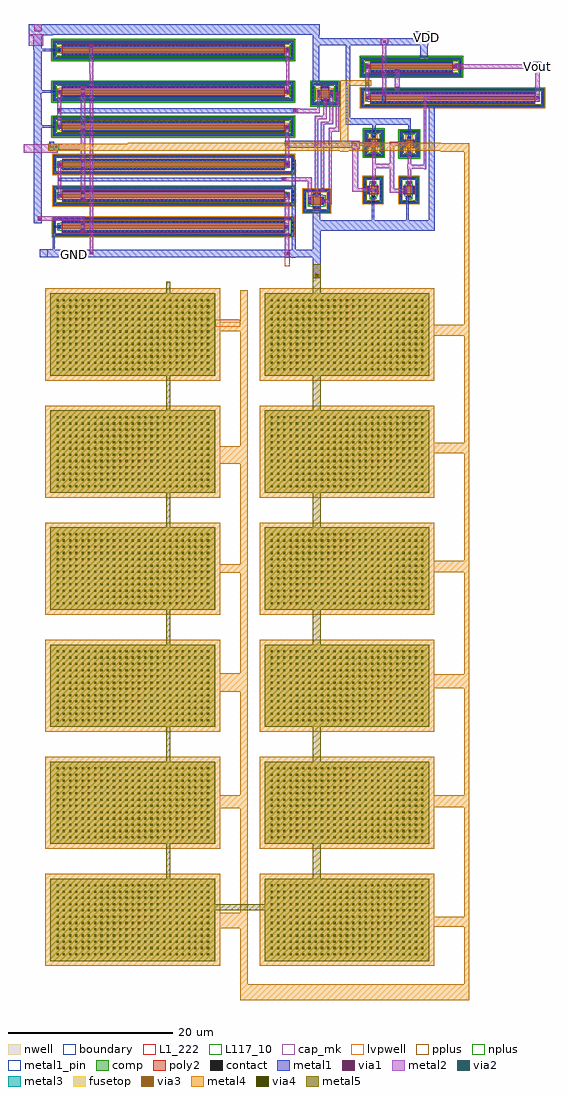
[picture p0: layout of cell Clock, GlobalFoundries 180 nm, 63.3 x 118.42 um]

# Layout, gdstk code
from math import pi, radians
import gdstk
lib = gdstk.Library(unit=1e-6, precision=1e-09)
def R(c, l, rs):  # rectangles x0, y0, x1, y1
    for r in rs: c.add(gdstk.rectangle(r[:2], r[2:], *l))
def A(c, l, x, y, w, h, nx, ny, dx, dy):  # array of equal rectangles
    R(c, l, [(x+i*dx, y+j*dy, x+i*dx+w, y+j*dy+h) for i in range(nx) for j in range(ny)])
boundary = (0, 0)
L1_222 = (1, 222)
nwell = (21, 0)
comp = (22, 0)
poly2 = (30, 0)
pplus = (31, 0)
nplus = (32, 0)
contact = (33, 0)
metal1 = (34, 0)
metal1_pin = (34, 10)
via1 = (35, 0)
metal2 = (36, 0)
via2 = (38, 0)
via3 = (40, 0)
via4 = (41, 0)
metal3 = (42, 0)
metal4 = (46, 0)
fusetop = (75, 0)
metal5 = (81, 0)
cap_mk = (117, 5)
L117_10 = (117, 10)
lvpwell = (204, 0)

cap_mim = lib.new_cell('cap_mim')
A(cap_mim, via4, 0.69, 0.75, 0.26, 0.26, 12, 25, 0.76, 0.76)
R(cap_mim, metal4, [(-0.6,-0.6,10.6,20.6)])
R(cap_mim, fusetop, [(0,0,10,20)])
R(cap_mim, metal5, [(0,0,10,20)])
R(cap_mim, cap_mk, [(-0.6,-0.6,10.6,20.6)])
R(cap_mim, L117_10, [(0,0,10,0.1)])

nfet_03v3_y6nwy5 = lib.new_cell('nfet_03v3_Y6NWY5')
R(nfet_03v3_y6nwy5, boundary, [(-14.45,-1,14.45,1)])
R(nfet_03v3_y6nwy5, comp, [(-14.63,-1.18,14.63,-0.82), (-14.63,-0.82,-14.27,0.82), (14.27,-0.82,14.63,0.82), (-13.94,-0.25,13.94,0.25), (-14.63,0.82,14.63,1.18)])
R(nfet_03v3_y6nwy5, poly2, [(-13.5,-0.71,13.5,0.71)])
R(nfet_03v3_y6nwy5, pplus, [(-14.65,-1.2,14.65,-0.8), (-14.65,-0.8,-14.24,-0.695), (14.24,-0.8,14.65,-0.695), (-14.66,-0.695,-14.24,0.695), (14.24,-0.695,14.66,0.695), (-14.65,0.695,-14.24,0.8), (14.24,0.695,14.65,0.8), (-14.65,0.8,14.65,1.2)])
R(nfet_03v3_y6nwy5, nplus, [(-13.73,-0.48,13.73,-0.41), (-14.1,-0.41,14.1,0.41), (-13.73,0.41,13.73,0.48)])
A(nfet_03v3_y6nwy5, contact, -13.27, -0.64, 0.22, 0.22, 57, 2, 0.47, 1.06)
A(nfet_03v3_y6nwy5, contact, -14.56, -0.58, 0.22, 0.22, 1, 3, 0, 0.47)
A(nfet_03v3_y6nwy5, contact, 14.34, -0.58, 0.22, 0.22, 1, 3, 0, 0.47)
R(nfet_03v3_y6nwy5, contact, [(-13.87,-0.11,-13.65,0.11), (13.65,-0.11,13.87,0.11)])
R(nfet_03v3_y6nwy5, metal1, [(-14.565,-1.115,14.565,-0.885), (-14.565,-0.885,-14.335,0.885), (14.335,-0.885,14.565,0.885), (-13.49,-0.645,13.49,-0.415), (-13.875,-0.24,-13.645,0.24), (13.645,-0.24,13.875,0.24), (-13.49,0.415,13.49,0.645), (-14.565,0.885,14.565,1.115)])
R(nfet_03v3_y6nwy5, lvpwell, [(-14.75,-1.3,14.75,1.3)])

pfet_03v3_c5nple = lib.new_cell('pfet_03v3_C5NPLE')
R(pfet_03v3_c5nple, boundary, [(-14.45,-1,14.45,1)])
R(pfet_03v3_c5nple, nwell, [(-14.75,-1.3,14.75,1.3)])
R(pfet_03v3_c5nple, comp, [(-14.63,-1.18,14.63,-0.82), (-14.63,-0.82,-14.27,0.82), (14.27,-0.82,14.63,0.82), (-13.94,-0.25,13.94,0.25), (-14.63,0.82,14.63,1.18)])
R(pfet_03v3_c5nple, poly2, [(-13.5,-0.71,13.5,0.71)])
R(pfet_03v3_c5nple, pplus, [(-13.73,-0.48,13.73,-0.41), (-14.1,-0.41,14.1,0.41), (-13.73,0.41,13.73,0.48)])
R(pfet_03v3_c5nple, nplus, [(-14.79,-1.34,14.79,-0.71), (-14.79,-0.71,-14.16,0.71), (14.16,-0.71,14.79,0.71), (-14.79,0.71,14.79,1.34)])
A(pfet_03v3_c5nple, contact, -13.27, -0.64, 0.22, 0.22, 57, 2, 0.47, 1.06)
A(pfet_03v3_c5nple, contact, -14.56, -0.58, 0.22, 0.22, 1, 3, 0, 0.47)
A(pfet_03v3_c5nple, contact, 14.34, -0.58, 0.22, 0.22, 1, 3, 0, 0.47)
R(pfet_03v3_c5nple, contact, [(-13.87,-0.11,-13.65,0.11), (13.65,-0.11,13.87,0.11)])
R(pfet_03v3_c5nple, metal1, [(-14.565,-1.115,14.565,-0.885), (-14.565,-0.885,-14.335,0.885), (14.335,-0.885,14.565,0.885), (-13.49,-0.645,13.49,-0.415), (-13.875,-0.24,-13.645,0.24), (13.645,-0.24,13.875,0.24), (-13.49,0.415,13.49,0.645), (-14.565,0.885,14.565,1.115)])

nfet_03v3_gnryrw = lib.new_cell('nfet_03v3_GNRYRW')
R(nfet_03v3_gnryrw, boundary, [(-1.45,-1.25,1.45,1.25)])
R(nfet_03v3_gnryrw, comp, [(-1.63,-1.43,1.63,-1.07), (-1.63,-1.07,-1.27,1.07), (1.27,-1.07,1.63,1.07), (-0.94,-0.5,0.94,0.5), (-1.63,1.07,1.63,1.43)])
R(nfet_03v3_gnryrw, poly2, [(-0.5,-0.96,0.5,0.96)])
R(nfet_03v3_gnryrw, pplus, [(-1.65,-1.45,1.65,-1.05), (-1.65,-1.05,-1.24,-0.945), (1.25,-1.05,1.65,1.05), (-1.66,-0.945,-1.24,0.945), (-1.65,0.945,-1.24,1.05), (-1.65,1.05,1.65,1.45)])
R(nfet_03v3_gnryrw, nplus, [(-0.73,-0.73,0.73,-0.66), (-1.1,-0.66,1.1,0.66), (-0.73,0.66,0.73,0.73)])
A(nfet_03v3_gnryrw, contact, -1.56, -0.815, 0.22, 0.22, 1, 4, 0, 0.47)
R(nfet_03v3_gnryrw, contact, [(-0.345,-0.89,-0.125,-0.67), (0.125,-0.89,0.345,-0.67), (-0.87,-0.345,-0.65,-0.125), (0.65,-0.345,0.87,-0.125), (-0.87,0.125,-0.65,0.345), (0.65,0.125,0.87,0.345), (-0.345,0.67,-0.125,0.89), (0.125,0.67,0.345,0.89)])
R(nfet_03v3_gnryrw, metal1, [(-1.565,-1.365,1.565,-1.135), (-1.565,-1.135,-1.335,1.135), (1.335,-1.135,1.565,1.135), (-0.49,-0.895,0.49,-0.665), (-0.875,-0.49,-0.645,0.49), (0.645,-0.49,0.875,0.49), (-0.49,0.665,0.49,0.895), (-1.565,1.135,1.565,1.365)])
R(nfet_03v3_gnryrw, lvpwell, [(-1.75,-1.55,1.75,1.55)])

pfet_03v3_9trv9f = lib.new_cell('pfet_03v3_9TRV9F')
R(pfet_03v3_9trv9f, boundary, [(-1.45,-1.25,1.45,1.25)])
R(pfet_03v3_9trv9f, nwell, [(-1.75,-1.55,1.75,1.55)])
R(pfet_03v3_9trv9f, comp, [(-1.63,-1.43,1.63,-1.07), (-1.63,-1.07,-1.27,1.07), (1.27,-1.07,1.63,1.07), (-0.94,-0.5,0.94,0.5), (-1.63,1.07,1.63,1.43)])
R(pfet_03v3_9trv9f, poly2, [(-0.5,-0.96,0.5,0.96)])
R(pfet_03v3_9trv9f, pplus, [(-0.73,-0.73,0.73,-0.66), (-1.1,-0.66,1.1,0.66), (-0.73,0.66,0.73,0.73)])
R(pfet_03v3_9trv9f, nplus, [(-1.79,-1.59,1.79,-0.96), (-1.79,-0.96,-1.16,0.96), (1.16,-0.96,1.79,0.96), (-1.79,0.96,1.79,1.59)])
A(pfet_03v3_9trv9f, contact, -1.56, -0.815, 0.22, 0.22, 1, 4, 0, 0.47)
A(pfet_03v3_9trv9f, contact, 1.34, -0.815, 0.22, 0.22, 1, 4, 0, 0.47)
R(pfet_03v3_9trv9f, contact, [(-0.345,-0.89,-0.125,-0.67), (0.125,-0.89,0.345,-0.67), (-0.87,-0.345,-0.65,-0.125), (0.65,-0.345,0.87,-0.125), (-0.87,0.125,-0.65,0.345), (0.65,0.125,0.87,0.345), (-0.345,0.67,-0.125,0.89), (0.125,0.67,0.345,0.89)])
R(pfet_03v3_9trv9f, metal1, [(-1.565,-1.365,1.565,-1.135), (-1.565,-1.135,-1.335,1.135), (1.335,-1.135,1.565,1.135), (-0.49,-0.895,0.49,-0.665), (-0.875,-0.49,-0.645,0.49), (0.645,-0.49,0.875,0.49), (-0.49,0.665,0.49,0.895), (-1.565,1.135,1.565,1.365)])

b04_schmitt_trigger_back = lib.new_cell('B04_schmitt_trigger_backup')
R(b04_schmitt_trigger_back, metal1, [(43.1,-34.55,43.6,-34.5), (12.55,-34.5,46.6,-33.6), (12.55,-33.6,14.4,-33.5), (43.1,-33.6,43.6,-22.65), (45.7,-33.6,46.6,-28.8), (14.15,-33.5,14.4,-31.7), (17.6,-31.4,17.95,-31.35), (17.55,-31.35,18,-31.05), (42.4,-31,42.8,-30.6), (14.35,-30.95,15,-30.65), (17.55,-30.55,18,-30.2), (11.85,-30.35,12.8,-18.8), (46.85,-27.9,47.25,-27.45), (45.1,-27.85,45.3,-27.8), (45.1,-27.8,45.5,-27.5), (17.65,-27.65,18,-27.5), (17.6,-27.5,18.05,-27.3), (45.1,-27.5,45.3,-27.4), (14.75,-27.25,15.15,-26.85), (42.65,-27.25,42.85,-27.2), (45.9,-27.25,46.35,-26.9), (42.45,-27.2,42.85,-26.9), (42.65,-26.9,42.85,-26.85), (45.95,-26.9,46.3,-26.85), (17.6,-26.8,18.05,-26.6), (17.65,-26.6,18,-26.45), (46.65,-26.45,47.1,-26.05), (14.75,-25.25,42.45,-24.85), (17.65,-23.85,18,-23.7), (17.6,-23.7,18.05,-23.5), (14.75,-23.45,15.15,-23.05), (42.4,-23.45,42.8,-23.4), (42.4,-23.4,42.85,-23.1), (42.4,-23.1,42.8,-23.05), (17.6,-23,18.05,-22.8), (17.65,-22.8,18,-22.65), (13.7,-21.5,14.3,-21.4), (13.65,-21.4,14.95,-20.75), (50.4,-21.4,51.4,-21.2), (42.35,-21.2,51.4,-20.6), (13.7,-20.75,14.3,-20.5), (42.35,-20.6,43.7,-20.55), (50.4,-20.6,51.4,-20.4), (17.6,-19.25,18.05,-18.9), (14.7,-18.85,14.9,-18.8), (42.45,-18.85,42.8,-18.8), (11.85,-18.8,14.35,-18.5), (14.7,-18.8,15.1,-18.5), (42.4,-18.8,42.8,-18.5), (11.85,-18.5,12.8,-15.25), (14.7,-18.5,14.9,-18.45), (42.45,-18.5,42.8,-18.45), (17.6,-18.4,18.05,-18.05), (14.7,-17,43.85,-16.45), (46.95,-15.55,47.4,-15.15), (11.85,-15.25,12.75,-14.6), (17.65,-15,18,-14.95), (17.6,-14.95,18.05,-14.55), (46.2,-14.85,46.65,-14.45), (47.7,-14.8,48.15,-14.4), (48.45,-14.8,48.9,-14.4), (11.85,-14.6,12.8,-14.55), (14.7,-14.6,15,-14.55), (42.4,-14.6,42.8,-14.2), (11.85,-14.55,14.4,-14.25), (14.7,-14.55,15.1,-14.25), (11.85,-14.25,12.8,-9.5), (14.7,-14.25,15,-14.2), (17.6,-14.2,18.05,-13.85), (17.65,-13.85,18,-13.8), (45.7,-13.55,46.45,-7.5), (42.4,-9.55,42.85,-9.15), (11.85,-9.5,14.185,-9.35), (14.415,-9.5,14.875,-9.2), (11.75,-9.35,14.185,-9.2), (11.75,-9.2,12.8,-7.6), (18.55,-9.15,19,-8.8), (18.6,-8.8,18.95,-8.785), (11.2,-7.6,13,-7.55), (11.2,-7.55,14.15,-7.5), (11.2,-7.5,46.5,-6.25), (11.2,-6.25,14.15,-6.2)])
R(b04_schmitt_trigger_back, metal1_pin, [(12.55,-34.5,13.55,-33.5), (13.8,-21.5,14.3,-20.5), (50.4,-21.4,51.4,-20.4), (12.65,-7.05,12.7,-6.9)])
R(b04_schmitt_trigger_back, via1, [(42.495,-34.18,42.755,-33.92), (18.695,-34.08,18.955,-33.82), (17.645,-31.38,17.905,-31.12), (42.445,-30.93,42.705,-30.67), (17.645,-30.48,17.905,-30.22), (12.42,-29.98,12.68,-29.72), (46.895,-27.805,47.155,-27.545), (45.195,-27.78,45.455,-27.52), (17.695,-27.63,17.955,-27.37), (14.845,-27.18,15.105,-26.92), (42.495,-27.18,42.755,-26.92), (45.995,-27.155,46.255,-26.895), (17.695,-26.73,17.955,-26.47), (46.745,-26.405,47.005,-26.145), (14.845,-25.18,15.105,-24.92), (42.045,-25.18,42.305,-24.92), (17.695,-23.83,17.955,-23.57), (14.845,-23.38,15.105,-23.12), (42.495,-23.38,42.755,-23.12), (17.695,-22.93,17.955,-22.67), (13.91,-21.205,14.17,-20.945), (14.43,-21.205,14.69,-20.945), (45.995,-21.03,46.255,-20.77), (42.445,-20.98,42.705,-20.72), (50.695,-20.98,50.955,-20.72), (17.695,-19.23,17.955,-18.97), (14.795,-18.78,15.055,-18.52), (42.445,-18.78,42.705,-18.52), (17.695,-18.33,17.955,-18.07), (14.795,-16.83,15.055,-16.57), (43.395,-16.83,43.655,-16.57), (47.045,-15.48,47.305,-15.22), (17.695,-14.93,17.955,-14.67), (46.295,-14.78,46.555,-14.52), (47.795,-14.73,48.055,-14.47), (48.545,-14.73,48.805,-14.47), (14.795,-14.53,15.055,-14.27), (42.445,-14.53,42.705,-14.27), (17.695,-14.105,17.955,-13.845), (42.495,-9.48,42.755,-9.22), (18.645,-9.075,18.905,-8.815)])
R(b04_schmitt_trigger_back, metal2, [(42.3,-34.55,42.85,-26.7), (18.6,-34.15,19.05,-12.15), (17.55,-31.45,18,-30.1), (12.3,-30.1,18,-29.55), (47.6,-28.05,48,-27.9), (45.1,-27.9,45.55,-25.25), (46.8,-27.9,48,-27.45), (17.5,-27.7,18.1,-21.45), (47.6,-27.45,48,-19.3), (14.75,-27.3,15.2,-26.85), (45.9,-27.25,46.35,-17.75), (14.75,-26.85,15.15,-25.25), (46.65,-26.5,47.1,-18.35), (14.75,-25.25,15.2,-24.85), (41.9,-25.25,45.55,-24.8), (14.75,-24.85,15.15,-23.45), (42.35,-23.5,42.85,-18.4), (14.75,-23.45,15.2,-23.05), (13.65,-21.45,18.1,-20.7), (50.5,-21.25,51.15,-20.6), (17.55,-20.7,18.1,-13.75), (47.6,-19.3,48.9,-18.8), (14.7,-18.85,15.15,-14.15), (48.45,-18.8,48.9,-14.4), (46.65,-18.35,48.15,-18.05), (47.7,-18.05,48.15,-14.4), (45.9,-17.75,47.4,-17.35), (46.95,-17.35,47.4,-15.15), (43.3,-17,46.5,-16.5), (43.3,-16.5,44.1,-16.45), (46.2,-16.5,46.5,-14.9), (46.2,-14.9,46.55,-14.85), (46.2,-14.85,46.65,-14.45), (42.35,-14.65,42.8,-14.15), (42.45,-14.15,42.8,-10.95), (18.55,-12.15,19.05,-9.75), (42.4,-10.95,42.85,-9.15), (18.55,-9.75,19,-8.7), (11.9,-7.05,12.8,-6.2)])
b04_schmitt_trigger_back.add(gdstk.Reference(nfet_03v3_y6nwy5, (28.75,-30.8)))
b04_schmitt_trigger_back.add(gdstk.Reference(pfet_03v3_c5nple, (28.75,-9.35)))
b04_schmitt_trigger_back.add(gdstk.Reference(nfet_03v3_gnryrw, (46.15,-27.65)))
b04_schmitt_trigger_back.add(gdstk.Reference(nfet_03v3_y6nwy5, (28.8,-27.05)))
b04_schmitt_trigger_back.add(gdstk.Reference(nfet_03v3_y6nwy5, (28.8,-23.25)))
b04_schmitt_trigger_back.add(gdstk.Reference(pfet_03v3_9trv9f, (47.15,-14.65)))
b04_schmitt_trigger_back.add(gdstk.Reference(pfet_03v3_c5nple, (28.75,-18.65)))
b04_schmitt_trigger_back.add(gdstk.Reference(pfet_03v3_c5nple, (28.75,-14.4)))
b04_schmitt_trigger_back.add(gdstk.Label('VDD', (12.675,-6.975), layer=34, texttype=10))
b04_schmitt_trigger_back.add(gdstk.Label('Vin', (14.05,-21), layer=34, texttype=10))
b04_schmitt_trigger_back.add(gdstk.Label('Vout', (50.9,-20.9), layer=34, texttype=10))
b04_schmitt_trigger_back.add(gdstk.Label('GND', (13.05,-34), layer=34, texttype=10))

nfet_03v3_5p2fd6 = lib.new_cell('nfet_03v3_5P2FD6')
R(nfet_03v3_5p2fd6, boundary, [(-10.95,-1,10.95,1)])
R(nfet_03v3_5p2fd6, comp, [(-11.13,-1.18,11.13,-0.82), (-11.13,-0.82,-10.77,0.82), (10.77,-0.82,11.13,0.82), (-10.44,-0.25,10.44,0.25), (-11.13,0.82,11.13,1.18)])
R(nfet_03v3_5p2fd6, poly2, [(-10,-0.71,10,0.71)])
R(nfet_03v3_5p2fd6, pplus, [(-11.15,-1.2,11.15,-0.8), (-11.15,-0.8,-10.74,-0.695), (10.74,-0.8,11.15,-0.695), (-11.16,-0.695,-10.74,0.695), (10.74,-0.695,11.16,0.695), (-11.15,0.695,-10.74,0.8), (10.74,0.695,11.15,0.8), (-11.15,0.8,11.15,1.2)])
R(nfet_03v3_5p2fd6, nplus, [(-10.23,-0.48,10.23,-0.41), (-10.6,-0.41,10.6,0.41), (-10.23,0.41,10.23,0.48)])
A(nfet_03v3_5p2fd6, contact, -9.745, -0.64, 0.22, 0.22, 42, 2, 0.47, 1.06)
A(nfet_03v3_5p2fd6, contact, -11.06, -0.58, 0.22, 0.22, 1, 3, 0, 0.47)
A(nfet_03v3_5p2fd6, contact, 10.84, -0.58, 0.22, 0.22, 1, 3, 0, 0.47)
R(nfet_03v3_5p2fd6, contact, [(-10.37,-0.11,-10.15,0.11), (10.15,-0.11,10.37,0.11)])
R(nfet_03v3_5p2fd6, metal1, [(-11.065,-1.115,11.065,-0.885), (-11.065,-0.885,-10.835,0.885), (10.835,-0.885,11.065,0.885), (-9.99,-0.645,9.99,-0.415), (-10.375,-0.24,-10.145,0.24), (10.145,-0.24,10.375,0.24), (-9.99,0.415,9.99,0.645), (-11.065,0.885,11.065,1.115)])
R(nfet_03v3_5p2fd6, lvpwell, [(-11.25,-1.3,11.25,1.3)])

pfet_03v3_gpex9r = lib.new_cell('pfet_03v3_GPEX9R')
R(pfet_03v3_gpex9r, boundary, [(-5.95,-1,5.95,1)])
R(pfet_03v3_gpex9r, nwell, [(-6.25,-1.3,6.25,1.3)])
R(pfet_03v3_gpex9r, comp, [(-6.13,-1.18,6.13,-0.82), (-6.13,-0.82,-5.77,0.82), (5.77,-0.82,6.13,0.82), (-5.44,-0.25,5.44,0.25), (-6.13,0.82,6.13,1.18)])
R(pfet_03v3_gpex9r, poly2, [(-5,-0.71,5,0.71)])
R(pfet_03v3_gpex9r, pplus, [(-5.23,-0.48,5.23,-0.41), (-5.6,-0.41,5.6,0.41), (-5.23,0.41,5.23,0.48)])
R(pfet_03v3_gpex9r, nplus, [(-6.29,-1.34,6.29,-0.71), (-6.29,-0.71,-5.66,0.71), (5.66,-0.71,6.29,0.71), (-6.29,0.71,6.29,1.34)])
A(pfet_03v3_gpex9r, contact, -4.81, -0.64, 0.22, 0.22, 21, 2, 0.47, 1.06)
A(pfet_03v3_gpex9r, contact, -6.06, -0.58, 0.22, 0.22, 1, 3, 0, 0.47)
A(pfet_03v3_gpex9r, contact, 5.84, -0.58, 0.22, 0.22, 1, 3, 0, 0.47)
R(pfet_03v3_gpex9r, contact, [(-5.37,-0.11,-5.15,0.11), (5.15,-0.11,5.37,0.11)])
R(pfet_03v3_gpex9r, metal1, [(-6.065,-1.115,6.065,-0.885), (-6.065,-0.885,-5.835,0.885), (5.835,-0.885,6.065,0.885), (-4.99,-0.645,4.99,-0.415), (-5.375,-0.24,-5.145,0.24), (5.145,-0.24,5.375,0.24), (-4.99,0.415,4.99,0.645), (-6.065,0.885,6.065,1.115)])

nfet_03v3_rea3en = lib.new_cell('nfet_03v3_REA3EN')
R(nfet_03v3_rea3en, boundary, [(-1.45,-1,1.45,1)])
R(nfet_03v3_rea3en, comp, [(-1.63,-1.18,1.63,-0.82), (-1.63,-0.82,-1.27,0.82), (1.27,-0.82,1.63,0.82), (-0.94,-0.25,0.94,0.25), (-1.63,0.82,1.63,1.18)])
R(nfet_03v3_rea3en, poly2, [(-0.5,-0.71,0.5,0.71)])
R(nfet_03v3_rea3en, pplus, [(-1.145,-1.21,1.145,-1.2), (-1.65,-1.2,1.65,-0.79), (-1.65,-0.79,-1.24,-0.695), (1.24,-0.79,1.65,-0.695), (-1.66,-0.695,-1.24,0.695), (1.24,-0.695,1.66,0.695), (-1.65,0.695,-1.24,0.79), (1.24,0.695,1.65,0.79), (-1.65,0.79,1.65,1.2), (-1.145,1.2,1.145,1.21)])
R(nfet_03v3_rea3en, nplus, [(-0.73,-0.48,0.73,-0.41), (-1.1,-0.41,1.1,0.41), (-0.73,0.41,0.73,0.48)])
A(nfet_03v3_rea3en, contact, -0.815, -1.11, 0.22, 0.22, 4, 2, 0.47, 2)
A(nfet_03v3_rea3en, contact, -1.56, -0.58, 0.22, 0.22, 1, 3, 0, 0.47)
A(nfet_03v3_rea3en, contact, 1.34, -0.58, 0.22, 0.22, 1, 3, 0, 0.47)
R(nfet_03v3_rea3en, contact, [(-0.345,-0.64,-0.125,-0.42), (0.125,-0.64,0.345,-0.42), (-0.87,-0.11,-0.65,0.11), (0.65,-0.11,0.87,0.11), (-0.345,0.42,-0.125,0.64), (0.125,0.42,0.345,0.64)])
R(nfet_03v3_rea3en, metal1, [(-1.565,-1.115,1.565,-0.885), (-1.565,-0.885,-1.335,0.885), (1.335,-0.885,1.565,0.885), (-0.49,-0.645,0.49,-0.415), (-0.875,-0.24,-0.645,0.24), (0.645,-0.24,0.875,0.24), (-0.49,0.415,0.49,0.645), (-1.565,0.885,1.565,1.115)])
R(nfet_03v3_rea3en, lvpwell, [(-1.75,-1.3,1.75,1.3)])

pfet_03v3_avnsd5 = lib.new_cell('pfet_03v3_AVNSD5')
R(pfet_03v3_avnsd5, boundary, [(-1.45,-1,1.45,1)])
R(pfet_03v3_avnsd5, nwell, [(-1.75,-1.3,1.75,1.3)])
R(pfet_03v3_avnsd5, comp, [(-1.63,-1.18,1.63,-0.82), (-1.63,-0.82,-1.27,0.82), (1.27,-0.82,1.63,0.82), (-0.94,-0.25,0.94,0.25), (-1.63,0.82,1.63,1.18)])
R(pfet_03v3_avnsd5, poly2, [(-0.5,-0.71,0.5,0.71)])
R(pfet_03v3_avnsd5, pplus, [(-0.73,-0.48,0.73,-0.41), (-1.1,-0.41,1.1,0.41), (-0.73,0.41,0.73,0.48)])
R(pfet_03v3_avnsd5, nplus, [(-1.79,-1.34,1.79,-0.71), (-1.79,-0.71,-1.16,0.71), (1.16,-0.71,1.79,0.71), (-1.79,0.71,1.79,1.34)])
A(pfet_03v3_avnsd5, contact, -1.56, -0.58, 0.22, 0.22, 1, 3, 0, 0.47)
R(pfet_03v3_avnsd5, contact, [(-0.345,-0.64,-0.125,-0.42), (0.125,-0.64,0.345,-0.42), (-0.87,-0.11,-0.65,0.11), (0.65,-0.11,0.87,0.11), (-0.345,0.42,-0.125,0.64), (0.125,0.42,0.345,0.64)])
R(pfet_03v3_avnsd5, metal1, [(-1.565,-1.115,1.565,-0.885), (-1.565,-0.885,-1.335,0.885), (1.335,-0.885,1.565,0.885), (-0.49,-0.645,0.49,-0.415), (-0.875,-0.24,-0.645,0.24), (0.645,-0.24,0.875,0.24), (-0.49,0.415,0.49,0.645), (-1.565,0.885,1.565,1.115)])

pfet_03v3_54z2ee = lib.new_cell('pfet_03v3_54Z2EE')
R(pfet_03v3_54z2ee, boundary, [(-1.45,-1,1.45,1)])
R(pfet_03v3_54z2ee, nwell, [(-1.75,-1.3,1.75,1.3)])
R(pfet_03v3_54z2ee, comp, [(-1.63,-1.18,1.63,-0.82), (-1.63,-0.82,-1.27,0.82), (1.27,-0.82,1.63,0.82), (-0.94,-0.25,0.94,0.25), (-1.63,0.82,1.63,1.18)])
R(pfet_03v3_54z2ee, poly2, [(-0.5,-0.71,0.5,0.71)])
R(pfet_03v3_54z2ee, pplus, [(-0.73,-0.48,0.73,-0.41), (-1.1,-0.41,1.1,0.41), (-0.73,0.41,0.73,0.48)])
R(pfet_03v3_54z2ee, nplus, [(-1.79,-1.34,1.79,-0.71), (-1.79,-0.71,-1.16,0.71), (1.16,-0.71,1.79,0.71), (-1.79,0.71,1.79,1.34)])
A(pfet_03v3_54z2ee, contact, -0.815, -1.11, 0.22, 0.22, 4, 2, 0.47, 2)
A(pfet_03v3_54z2ee, contact, -1.56, -0.58, 0.22, 0.22, 1, 3, 0, 0.47)
A(pfet_03v3_54z2ee, contact, 1.34, -0.58, 0.22, 0.22, 1, 3, 0, 0.47)
R(pfet_03v3_54z2ee, contact, [(-0.345,-0.64,-0.125,-0.42), (0.125,-0.64,0.345,-0.42), (-0.87,-0.11,-0.65,0.11), (0.65,-0.11,0.87,0.11), (-0.345,0.42,-0.125,0.64), (0.125,0.42,0.345,0.64)])
R(pfet_03v3_54z2ee, metal1, [(-1.565,-1.115,1.565,-0.885), (-1.565,-0.885,-1.335,0.885), (1.335,-0.885,1.565,0.885), (-0.49,-0.645,0.49,-0.415), (-0.875,-0.24,-0.645,0.24), (0.645,-0.24,0.875,0.24), (-0.49,0.415,0.49,0.645), (-1.565,0.885,1.565,1.115)])

clock = lib.new_cell('Clock')
R(clock, L1_222, [(22.54,-8.36,25.56,-7.51), (30.95,-0.98,31.56,1), (31.01,-0.92,31.54,1)])
R(clock, metal1, [(34.4,-2.46,35.35,0.97), (34.4,-2.46,35.35,-0.745), (34.64,-2.3,35.17,-1.91), (4.95,-0.05,6.8,0.95), (34.4,0.1,35.35,3.9), (35.3,3.32,49.2,4.56), (45.75,4.26,46.05,5.1), (41.55,4.56,41.83,5.1), (48.45,4.56,49.2,5.15), (41.55,5.1,41.85,7.65), (45.75,5.1,46.05,7.55), (48.45,5.15,49.2,18.45), (41.05,7.85,41.15,8.05), (41.9,8,42.3,8.4), (45.45,8,45.8,8.4), (41.05,8.05,41.45,8.45), (41.05,8.45,41.15,8.6), (41.5,8.9,41.9,9.25), (45.85,8.95,46.25,9.3), (45.9,12.8,46.3,13.15), (41.6,12.85,42,13.2), (39.25,13.45,40.1,13.65), (31,13.65,40.1,14.25), (41.2,13.65,41.6,14.05), (45.45,13.65,45.85,14.1), (42,13.7,42.45,14.1), (45.95,14.55,46.25,16.15), (41.6,14.6,42,16.15), (38.4,16.15,38.95,16.2), (41.6,16.15,46.25,16.2), (38.4,16.2,46.25,16.95), (38.4,16.95,38.95,25.8), (42.8,19,43.25,19.9), (61.65,19.2,61.9,19.3), (40.75,19.25,41.15,19.65), (61.5,19.3,61.9,19.6), (61.65,19.6,61.9,19.65), (42.85,19.9,43.2,20.05), (44.35,20.35,44.9,20.8), (44.5,22.6,44.85,22.7), (44.45,22.7,44.9,22.95), (61.1,22.75,62.1,23.8), (40.8,23,41.2,23.4), (51.5,23,51.9,23.4), (47.45,24.1,48.35,25.85), (37.95,25.8,38.95,25.85), (35.15,25.85,48.4,26.1), (35.15,26.1,48.5,26.7), (46.7,26.7,48.5,27.5)])
R(clock, metal1_pin, [(4.95,-0.05,5.95,0.95), (61.1,22.75,62.1,23.75), (48.15,26.65,48.2,26.8)])
R(clock, via1, [(34.77,-2.21,35.03,-1.95), (41.995,8.07,42.255,8.33), (45.47,8.07,45.73,8.33), (41.095,8.12,41.355,8.38), (41.57,8.92,41.83,9.18), (45.92,8.97,46.18,9.23), (45.97,12.87,46.23,13.13), (41.67,12.92,41.93,13.18), (41.245,13.72,41.505,13.98), (42.095,13.77,42.355,14.03), (45.52,13.77,45.78,14.03), (40.845,19.32,41.105,19.58), (61.545,19.32,61.805,19.58), (42.895,19.77,43.155,20.03), (44.495,20.42,44.755,20.68), (44.545,22.62,44.805,22.88), (40.895,23.07,41.155,23.33), (51.545,23.07,51.805,23.33), (61.445,23.07,61.705,23.33), (42.945,26.12,43.205,26.38)])
R(clock, metal2, [(34.64,-2.3,35.17,-1.91), (34.64,-2.3,35.17,-1.91), (43.7,7.9,45.85,8.4), (41.9,8,42.35,8.1), (39.2,8.05,41.45,8.1), (39.2,8.1,42.35,8.4), (39.2,8.4,41.45,8.5), (43.7,8.4,44.25,10.9), (45.4,8.4,45.85,8.45), (39.2,8.5,39.9,13.2), (41.5,8.85,41.9,9.25), (45.85,8.85,46.3,9.8), (41.6,9.25,41.9,9.65), (41.6,9.65,42,10.9), (45.9,9.8,46.3,10.85), (47.85,10.8,48.15,10.85), (45.85,10.85,48.15,11.3), (41.6,10.9,44.25,11.45), (45.9,11.3,46.3,13.2), (47.85,11.3,48.15,19.2), (41.6,11.45,42,13.25), (43.7,11.45,44.25,13.6), (-0.7,12.75,3.45,13.2), (-0.7,13.2,3.55,13.8), (39.1,13.2,40.1,13.65), (43.7,13.6,45.55,13.65), (39.1,13.65,41.6,13.7), (43.7,13.65,45.85,14.1), (39.1,13.7,42.45,14.05), (2.45,13.8,3.55,13.85), (39.1,14.05,40.1,14.25), (41.55,14.05,42.45,14.1), (61.35,18.95,61.9,19.2), (40.75,19.2,41.25,22.9), (47.85,19.2,61.95,19.6), (47.85,19.6,48.65,19.65), (61.35,19.6,61.95,20.4), (42.8,19.7,43.3,26), (44.35,20.35,44.9,20.4), (44.3,20.4,44.95,23), (61.4,20.4,61.95,22.9), (40.75,22.9,41.3,23.5), (61.2,22.9,61.95,22.95), (51.45,22.95,61.95,23.45), (51.5,23.45,61.95,23.5), (-0.1,25.75,1.7,27.15), (42.65,26,43.55,26.7)])
R(clock, via2, [(34.77,-2.21,35.03,-1.95), (2.61,13.395,2.87,13.655), (3.13,13.395,3.39,13.655), (40.895,21.12,41.155,21.38)])
R(clock, via3, [(34.77,-2.21,35.03,-1.95), (2.61,13.395,2.87,13.655), (3.13,13.395,3.39,13.655), (40.895,21.12,41.155,21.38)])
R(clock, via4, [(34.77,-2.21,35.03,-1.95)])
R(clock, metal3, [(34.64,-2.3,35.17,-1.91), (34.64,-2.3,35.17,-1.91), (34.64,-2.3,35.17,-1.91), (2.35,13.05,3.65,13.9), (40.75,21,41.25,21.55)])
R(clock, metal4, [(25.56,-90.02,49.9,-88.1), (49.9,-90.02,53.07,-88.1), (52.78,-90.02,53.36,-86.18), (25.56,-88.1,26.48,-67.58), (52.78,-86.18,53.36,-44.26), (22.54,-81.32,25.56,-79.45), (48.54,-81.16,52.78,-79.89), (25.56,-67.58,26.48,-35.27), (22.54,-66.76,25.56,-65.15), (48.54,-66.64,52.78,-65.15), (22.54,-52.61,25.56,-50.35), (48.54,-52.17,52.78,-50.48), (52.78,-44.26,53.36,-14.62), (22.54,-38.21,25.56,-37.14), (48.54,-38.09,52.78,-36.75), (25.56,-35.27,26.48,-3.91), (22.54,-24.94,25.56,-22.85), (48.54,-23.71,52.78,-22.41), (52.78,-14.62,53.36,3.18), (48.54,-9.45,52.78,-8.12), (22.54,-8.89,25.56,-7.71), (34.64,-2.3,35.17,-1.91), (34.64,-2.3,35.17,-1.91), (34.64,-2.3,35.17,-1.91), (52.78,3.18,53.36,13.95), (37.7,12.9,38.7,13), (49.9,12.93,52.78,13.95), (2.35,13,49.9,13.05), (2.3,13.05,49.9,13.9), (11.95,13.9,49.9,14), (37.7,14,38.7,20.9), (37.7,20.9,41.45,21.45), (37.75,21.45,41.45,21.55)])
R(clock, metal5, [(16.61,-81.43,17.1,-2.9), (16.34,-79.15,31.7,-78.39), (28.43,-79.15,31.57,-78.39), (28.87,-79.15,35.37,-78.39), (34.4,-79.15,35.37,-74.69), (34.39,-74.69,35.35,-72.03), (34.38,-72.03,35.35,-58.785), (34.38,-59.49,35.35,-58.08), (34.38,-58.6,35.35,-45.73), (34.38,-46.29,35.35,-29.12), (34.4,-30.31,35.35,-15.95), (34.4,-15.95,35.35,-2.46), (34.4,-2.46,35.35,-0.745), (34.4,-2.46,35.35,-0.745), (34.64,-2.3,35.17,-1.91), (34.64,-2.3,35.17,-1.91)])
clock.add(gdstk.Reference(cap_mim, (22.54,-85.29), rotation=pi/2))
clock.add(gdstk.Reference(cap_mim, (48.54,-85.29), rotation=pi/2))
clock.add(gdstk.Reference(cap_mim, (22.54,-71.09), rotation=pi/2))
clock.add(gdstk.Reference(cap_mim, (48.54,-71.09), rotation=pi/2))
clock.add(gdstk.Reference(cap_mim, (22.54,-56.89), rotation=pi/2))
clock.add(gdstk.Reference(cap_mim, (48.54,-56.89), rotation=pi/2))
clock.add(gdstk.Reference(cap_mim, (22.54,-42.69), rotation=pi/2))
clock.add(gdstk.Reference(cap_mim, (48.54,-42.69), rotation=pi/2))
clock.add(gdstk.Reference(cap_mim, (22.54,-28.49), rotation=pi/2))
clock.add(gdstk.Reference(cap_mim, (48.54,-28.49), rotation=pi/2))
clock.add(gdstk.Reference(cap_mim, (22.54,-14.29), rotation=pi/2))
clock.add(gdstk.Reference(cap_mim, (48.54,-14.29), rotation=pi/2))
clock.add(gdstk.Reference(b04_schmitt_trigger_back, (-11.3,34.6)))
clock.add(gdstk.Reference(nfet_03v3_5p2fd6, (51.35,19.45)))
clock.add(gdstk.Reference(pfet_03v3_gpex9r, (46.35,23.2)))
clock.add(gdstk.Reference(nfet_03v3_rea3en, (46.05,8.25), rotation=3*pi/2))
clock.add(gdstk.Reference(pfet_03v3_avnsd5, (41.8,13.95), rotation=3*pi/2))
clock.add(gdstk.Reference(nfet_03v3_rea3en, (41.7,8.25), rotation=3*pi/2))
clock.add(gdstk.Reference(pfet_03v3_54z2ee, (46.1,13.85), rotation=3*pi/2))
clock.add(gdstk.Label('VDD', (48.175,26.725), layer=34, texttype=10))
clock.add(gdstk.Label('Vout', (61.6,23.25), layer=34, texttype=10))
clock.add(gdstk.Label('GND', (5.45,0.45), layer=34, texttype=10))

lib.write_gds('Clock.gds')
